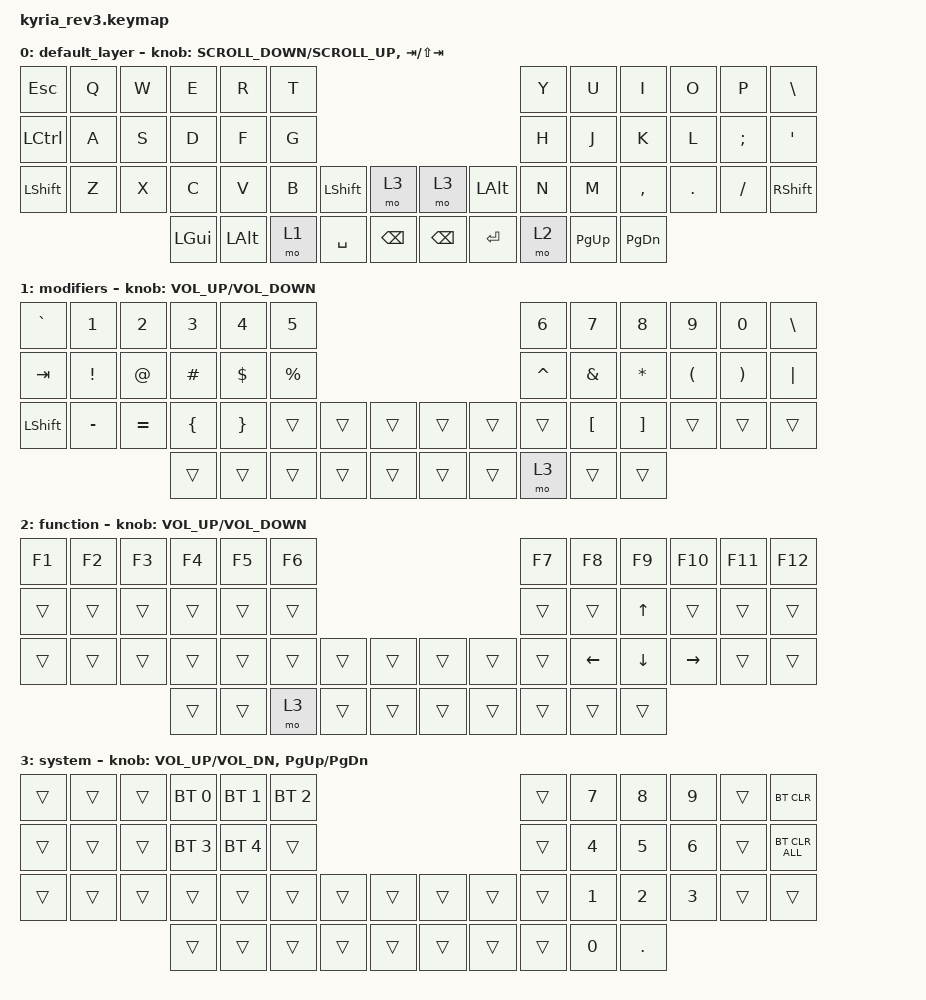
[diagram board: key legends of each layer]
/*
 * Copyright (c) 2023 The ZMK Contributors
 *
 * SPDX-License-Identifier: MIT
 */

#include <behaviors.dtsi>
#include <dt-bindings/zmk/bt.h>
#include <dt-bindings/zmk/keys.h>

/* Uncomment this block if using RGB
&led_strip {
    chain-length = <6>;
    // chain-length = <31>; // Uncomment if using both per-key and underglow LEDs
    // chain-length = <25>; // Uncomment if using only per-key LEDs.
};
 */

/ {
    keymap {
        compatible = "zmk,keymap";

        default_layer {
            // ---------------------------------------------------------------------------------------------------------------------------------
            // |  ESC  |  Q  |  W  |  E   |  R   |  T   |                                          |  Y   |  U    |  I    |  O   |   P   |   \  |
            // |  TAB  |  A  |  S  |  D   |  F   |  G   |                                          |  H   |  J    |  K    |  L   |   ;   |   '  |
            // | SHIFT |  Z  |  X  |  C   |  V   |  B   | L SHIFT | L SHIFT |  | LAYER 1 | L SHIFT |  N   |  M    |  ,    |  .   |   /   | CTRL |
            //                     | GUI  | DEL  | RET  |  SPACE  |   ESC   |  |   RET   |  SPACE  | TAB  | BSPC  | R-ALT |

            bindings = <
&kp ESC           &kp Q  &kp W  &kp E     &kp R         &kp T                                                         &kp Y  &kp U        &kp I          &kp O    &kp P     &kp BSLH
&kp LEFT_CONTROL  &kp A  &kp S  &kp D     &kp F         &kp G                                                         &kp H  &kp J        &kp K          &kp L    &kp SEMI  &kp SQT
&kp LSHFT         &kp Z  &kp X  &kp C     &kp V         &kp B  &kp LSHFT  &mo 3          &mo 3          &kp LEFT_ALT  &kp N  &kp M        &kp COMMA      &kp DOT  &kp FSLH  &kp RIGHT_SHIFT
                                &kp LGUI  &kp LEFT_ALT  &mo 1  &kp SPACE  &kp BACKSPACE  &kp BACKSPACE  &kp ENTER     &mo 2  &kp PAGE_UP  &kp PAGE_DOWN
            >;

            sensor-bindings =
                <&inc_dec_kp K_SCROLL_DOWN K_SCROLL_UP>,
                <&inc_dec_kp TAB LS(TAB)>;
        };

        modifiers {
            bindings = <
&kp GRAVE       &kp NUMBER_1     &kp NUMBER_2  &kp NUMBER_3    &kp NUMBER_4     &kp N5                                       &kp NUMBER_6  &kp N7            &kp N8             &kp N9                &kp N0                 &kp BACKSLASH
&kp TAB         &kp EXCLAMATION  &kp AT_SIGN   &kp HASH        &kp DOLLAR       &kp PERCENT                                  &kp CARET     &kp AMPS          &kp ASTRK          &kp LEFT_PARENTHESIS  &kp RIGHT_PARENTHESIS  &kp PIPE
&kp LEFT_SHIFT  &kp MINUS        &kp EQUAL     &kp LEFT_BRACE  &kp RIGHT_BRACE  &trans       &trans  &trans  &trans  &trans  &trans        &kp LEFT_BRACKET  &kp RIGHT_BRACKET  &trans                &trans                 &trans
                                               &trans          &trans           &trans       &trans  &trans  &trans  &trans  &mo 3         &trans            &trans
            >;

            sensor-bindings = <&inc_dec_kp C_VOLUME_UP C_VOLUME_DOWN>;
        };

        function {
            bindings = <
&kp F1  &kp F2  &kp F3  &kp F4  &kp F5  &kp F6                                  &kp F7  &kp F8    &kp F9        &kp F10    &kp F11  &kp F12
&trans  &trans  &trans  &trans  &trans  &trans                                  &trans  &trans    &kp UP_ARROW  &trans     &trans   &trans
&trans  &trans  &trans  &trans  &trans  &trans  &trans  &trans  &trans  &trans  &trans  &kp LEFT  &kp DOWN      &kp RIGHT  &trans   &trans
                        &trans  &trans  &mo 3   &trans  &trans  &trans  &trans  &trans  &trans    &trans
            >;

            sensor-bindings = <&inc_dec_kp C_VOLUME_UP C_VOLUME_DOWN>;
        };

        system {
            // ---------------------------------------------------------------------------------------------------------------------------------
            // |       |      |BT_CLR|BTSEL0|BTSEL1|BTSEL2|                                         |      |      |      |      |      |      |
            // |       |      |      |BTSEL3|BTSEL4|      |                                         |      |      |      |      |      |      |
            // |       |      |      |      |      |      |      |      |      |      |      |      |      |      |      |      |      |      |
            //                       |      |      |      |      |      |      |      |      |      |      |      |      |

            bindings = <
&trans  &trans  &trans  &bt BT_SEL 0  &bt BT_SEL 1  &bt BT_SEL 2                                  &trans  &kp NUMBER_7  &kp NUMBER_8  &kp NUMBER_9  &trans  &bt BT_CLR
&trans  &trans  &trans  &bt BT_SEL 3  &bt BT_SEL 4  &trans                                        &trans  &kp NUMBER_4  &kp NUMBER_5  &kp NUMBER_6  &trans  &bt BT_CLR_ALL
&trans  &trans  &trans  &trans        &trans        &trans        &trans  &trans  &trans  &trans  &trans  &kp NUMBER_1  &kp NUMBER_2  &kp NUMBER_3  &trans  &trans
                        &trans        &trans        &trans        &trans  &trans  &trans  &trans  &trans  &kp N0        &kp PERIOD
            >;

            sensor-bindings = <&inc_dec_kp C_VOL_UP C_VOL_DN &inc_dec_kp PG_UP PG_DN>;
        };
    };
};
